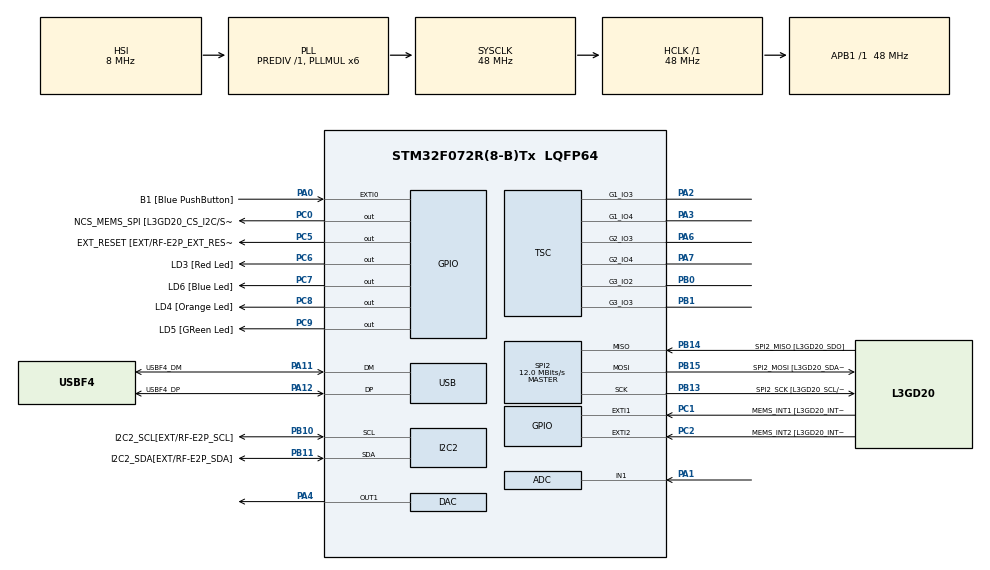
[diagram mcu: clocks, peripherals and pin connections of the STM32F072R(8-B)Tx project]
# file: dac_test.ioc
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ADC.ContinuousConvMode=ENABLE
ADC.SamplingTime=ADC_SAMPLETIME_28CYCLES_5
I2C2.Timing=0x20303E5D
Mcu.Family=STM32F0
Mcu.Name=STM32F072R(8-B)Tx
Mcu.Package=LQFP64
NVIC.ADC1_COMP_IRQn=true\:0\:0\:false\:false\:true\:true\:true
NVIC.USB_IRQn=true\:0\:0\:false\:false\:true\:false\:true
PA0.GPIO_Label=B1 [Blue PushButton]
PA0.GPIO_ModeDefaultEXTI=GPIO_MODE_EVT_RISING
PA0.Signal=GPXTI0
PA1.Mode=IN1
PA1.Signal=ADC_IN1
PA11.GPIO_Label=USBF4_DM
PA11.Mode=Device
PA11.Signal=USB_DM
PA12.GPIO_Label=USBF4_DP
PA12.Mode=Device
PA12.Signal=USB_DP
PA13.GPIO_Label=SWDIO
PA13.Mode=Serial_Wire
PA13.Signal=SYS_SWDIO
PA14.GPIO_Label=SWCLK
PA14.Mode=Serial_Wire
PA14.Signal=SYS_SWCLK
PA2.Mode=G1_IO3-Channel
PA2.Signal=TSC_G1_IO3
PA3.Mode=G1_IO4-Sampling
PA3.Signal=TSC_G1_IO4
PA4.Signal=COMP_DAC1_group
PA6.Mode=G2_IO3-Channel
PA6.Signal=TSC_G2_IO3
PA7.Mode=G2_IO4-Sampling
PA7.Signal=TSC_G2_IO4
PB0.Mode=G3_IO2-Channel
PB0.Signal=TSC_G3_IO2
PB1.Mode=G3_IO3-Sampling
PB1.Signal=TSC_G3_IO3
PB10.GPIO_Label=I2C2_SCL[EXT/RF-E2P_SCL]
PB10.Mode=I2C
PB10.Signal=I2C2_SCL
PB11.GPIO_Label=I2C2_SDA[EXT/RF-E2P_SDA]
PB11.Mode=I2C
PB11.Signal=I2C2_SDA
PB13.GPIO_Label=SPI2_SCK [L3GD20_SCL/SPC]
PB13.Mode=Full_Duplex_Master
PB13.Signal=SPI2_SCK
PB14.GPIO_Label=SPI2_MISO [L3GD20_SDO]
PB14.Mode=Full_Duplex_Master
PB14.Signal=SPI2_MISO
PB15.GPIO_Label=SPI2_MOSI [L3GD20_SDA/SDI]
PB15.Mode=Full_Duplex_Master
PB15.Signal=SPI2_MOSI
PC0.GPIO_Label=NCS_MEMS_SPI [L3GD20_CS_I2C/SPI]
PC0.Signal=GPIO_Output
PC1.GPIO_Label=MEMS_INT1 [L3GD20_INT1]
PC1.GPIO_ModeDefaultEXTI=GPIO_MODE_EVT_RISING
PC1.Signal=GPXTI1
PC2.GPIO_Label=MEMS_INT2 [L3GD20_INT2]
PC2.GPIO_ModeDefaultEXTI=GPIO_MODE_EVT_RISING
PC2.Signal=GPXTI2
PC5.GPIO_Label=EXT_RESET [EXT/RF-E2P_EXT_RESET]
PC5.Signal=GPIO_Output
PC6.GPIO_Label=LD3 [Red Led]
PC6.Signal=GPIO_Output
PC7.GPIO_Label=LD6 [Blue Led]
PC7.Signal=GPIO_Output
PC8.GPIO_Label=LD4 [Orange Led]
PC8.Signal=GPIO_Output
PC9.GPIO_Label=LD5 [GReen Led]
PC9.Signal=GPIO_Output
ProjectManager.HeapSize=0x200
ProjectManager.StackSize=0x400
ProjectManager.TargetToolchain=Makefile
RCC.AHBFreq_Value=48000000
RCC.APB1Freq_Value=48000000
RCC.APB1TimFreq_Value=48000000
RCC.HCLKFreq_Value=48000000
RCC.PLLMUL=RCC_PLL_MUL6
RCC.SYSCLKFreq_VALUE=48000000
RCC.SYSCLKSource=RCC_SYSCLKSOURCE_PLLCLK
SH.COMP_DAC1_group.0=DAC_OUT1,DAC_OUT1
SPI2.BaudRatePrescaler=SPI_BAUDRATEPRESCALER_4
SPI2.CalculateBaudRate=12.0 MBits/s
SPI2.Direction=SPI_DIRECTION_2LINES
SPI2.Mode=SPI_MODE_MASTER
SPI2.VirtualType=VM_MASTER
USB.phy_itface=PCD_PHY_EMBEDDED
USB.speed=PCD_SPEED_FULL
USB_DEVICE.CLASS_NAME_FS=CDC
USB_DEVICE.VirtualMode=Cdc
USB_DEVICE.VirtualModeFS=Cdc_FS
VP_USB_DEVICE_VS_USB_DEVICE_CDC_FS.Mode=CDC_FS
board=STM32F072B-DISCO

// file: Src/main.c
/* USER CODE BEGIN Header */
/**
  ******************************************************************************
  * @file           : main.c
  * @brief          : Main program body
  ******************************************************************************
  * @attention
  *
  * <h2><center>&copy; Copyright (c) 2020 STMicroelectronics.
  * All rights reserved.</center></h2>
  *
  * This software component is licensed by ST under BSD 3-Clause license,
  * the "License"; You may not use this file except in compliance with the
  * License. You may obtain a copy of the License at:
  *                        opensource.org/licenses/BSD-3-Clause
  *
  ******************************************************************************
  */
/* USER CODE END Header */

#include "main.h"
#include "usb_device.h"

/* USER CODE BEGIN Includes */
#include "usbd_cdc_if.h"
#include <string.h>
/* USER CODE END Includes */

ADC_HandleTypeDef hadc;

DAC_HandleTypeDef hdac;

I2C_HandleTypeDef hi2c2;

SPI_HandleTypeDef hspi2;

TSC_HandleTypeDef htsc;

void SystemClock_Config(void);
static void MX_GPIO_Init(void);
static void MX_DAC_Init(void);
static void MX_I2C2_Init(void);
static void MX_SPI2_Init(void);
static void MX_TSC_Init(void);
static void MX_ADC_Init(void);

/* USER CODE BEGIN 0 */
uint32_t adc_value = 0;
uint32_t DAC_Value = 1000;
uint16_t current_adc_value = 0;
/* USER CODE END 0 */

int main(void)
{

  /* MCU Configuration--------------------------------------------------------*/

  /* Reset of all peripherals, Initializes the Flash interface and the Systick. */
  HAL_Init();

  /* Configure the system clock */
  SystemClock_Config();

  /* Initialize all configured peripherals */
  MX_GPIO_Init();
  MX_DAC_Init();
  MX_I2C2_Init();
  MX_SPI2_Init();
  MX_TSC_Init();
  MX_ADC_Init();
  MX_USB_DEVICE_Init();
  /* USER CODE BEGIN 2 */
  HAL_DAC_Start(&hdac, DAC_CHANNEL_1);
  HAL_ADC_Start_IT (&hadc);

  uint8_t adc_index = 0;
  uint32_t adc_sum = 0;
  uint32_t adc_hist[100] = {0};

  uint8_t usb_buf[1] = {0};
  uint16_t txcounter = 0;

  /* USER CODE END 2 */

  /* Infinite loop */
  while (1)
  {

    /* USER CODE BEGIN 3 */

    adc_hist[adc_index]=current_adc_value;
    adc_index++;
    if (adc_index == 100){
      adc_index =0;
    }
    adc_sum = 0;
    for (int i = 0; i<100; i++){
      adc_sum += adc_hist[i];
    }
    adc_value = adc_sum * 30 / 4096 / 100;
    usb_buf[0] = adc_value;

    if (usb_ready()){
      DAC_Value = usb_getValue() * 100;
      HAL_DAC_SetValue(&hdac, DAC_CHANNEL_1,DAC_ALIGN_12B_R, DAC_Value*4096/3000);
    }
    txcounter++;
    if (txcounter==0){
      CDC_Transmit_FS(usb_buf,  1);
      HAL_Delay(100);
    }

    if (HAL_GPIO_ReadPin(B1_GPIO_Port, B1_Pin)){
      HAL_GPIO_TogglePin(LD6_GPIO_Port,LD6_Pin);
      HAL_Delay(200);
    }

  }
  /* USER CODE END 3 */
}

void SystemClock_Config(void)
{
  RCC_OscInitTypeDef RCC_OscInitStruct = {0};
  RCC_ClkInitTypeDef RCC_ClkInitStruct = {0};
  RCC_PeriphCLKInitTypeDef PeriphClkInit = {0};

  /** Initializes the CPU, AHB and APB busses clocks
  */
  RCC_OscInitStruct.OscillatorType = RCC_OSCILLATORTYPE_HSI|RCC_OSCILLATORTYPE_HSI14
                              |RCC_OSCILLATORTYPE_HSI48;
  RCC_OscInitStruct.HSIState = RCC_HSI_ON;
  RCC_OscInitStruct.HSI48State = RCC_HSI48_ON;
  RCC_OscInitStruct.HSI14State = RCC_HSI14_ON;
  RCC_OscInitStruct.HSICalibrationValue = RCC_HSICALIBRATION_DEFAULT;
  RCC_OscInitStruct.HSI14CalibrationValue = 16;
  RCC_OscInitStruct.PLL.PLLState = RCC_PLL_ON;
  RCC_OscInitStruct.PLL.PLLSource = RCC_PLLSOURCE_HSI;
  RCC_OscInitStruct.PLL.PLLMUL = RCC_PLL_MUL6;
  RCC_OscInitStruct.PLL.PREDIV = RCC_PREDIV_DIV1;
  if (HAL_RCC_OscConfig(&RCC_OscInitStruct) != HAL_OK)
  {
    Error_Handler();
  }
  /** Initializes the CPU, AHB and APB busses clocks
  */
  RCC_ClkInitStruct.ClockType = RCC_CLOCKTYPE_HCLK|RCC_CLOCKTYPE_SYSCLK
                              |RCC_CLOCKTYPE_PCLK1;
  RCC_ClkInitStruct.SYSCLKSource = RCC_SYSCLKSOURCE_PLLCLK;
  RCC_ClkInitStruct.AHBCLKDivider = RCC_SYSCLK_DIV1;
  RCC_ClkInitStruct.APB1CLKDivider = RCC_HCLK_DIV1;

  if (HAL_RCC_ClockConfig(&RCC_ClkInitStruct, FLASH_LATENCY_1) != HAL_OK)
  {
    Error_Handler();
  }
  PeriphClkInit.PeriphClockSelection = RCC_PERIPHCLK_USB;
  PeriphClkInit.UsbClockSelection = RCC_USBCLKSOURCE_HSI48;

  if (HAL_RCCEx_PeriphCLKConfig(&PeriphClkInit) != HAL_OK)
  {
    Error_Handler();
  }
}

static void MX_ADC_Init(void)
{

  ADC_ChannelConfTypeDef sConfig = {0};

  /** Configure the global features of the ADC (Clock, Resolution, Data Alignment and number of conversion)
  */
  hadc.Instance = ADC1;
  hadc.Init.ClockPrescaler = ADC_CLOCK_ASYNC_DIV1;
  hadc.Init.Resolution = ADC_RESOLUTION_12B;
  hadc.Init.DataAlign = ADC_DATAALIGN_RIGHT;
  hadc.Init.ScanConvMode = ADC_SCAN_DIRECTION_FORWARD;
  hadc.Init.EOCSelection = ADC_EOC_SINGLE_CONV;
  hadc.Init.LowPowerAutoWait = DISABLE;
  hadc.Init.LowPowerAutoPowerOff = DISABLE;
  hadc.Init.ContinuousConvMode = ENABLE;
  hadc.Init.DiscontinuousConvMode = DISABLE;
  hadc.Init.ExternalTrigConv = ADC_SOFTWARE_START;
  hadc.Init.ExternalTrigConvEdge = ADC_EXTERNALTRIGCONVEDGE_NONE;
  hadc.Init.DMAContinuousRequests = DISABLE;
  hadc.Init.Overrun = ADC_OVR_DATA_PRESERVED;
  if (HAL_ADC_Init(&hadc) != HAL_OK)
  {
    Error_Handler();
  }
  /** Configure for the selected ADC regular channel to be converted.
  */
  sConfig.Channel = ADC_CHANNEL_1;
  sConfig.Rank = ADC_RANK_CHANNEL_NUMBER;
  sConfig.SamplingTime = ADC_SAMPLETIME_28CYCLES_5;
  if (HAL_ADC_ConfigChannel(&hadc, &sConfig) != HAL_OK)
  {
    Error_Handler();
  }

}

static void MX_DAC_Init(void)
{

  DAC_ChannelConfTypeDef sConfig = {0};

  /** DAC Initialization
  */
  hdac.Instance = DAC;
  if (HAL_DAC_Init(&hdac) != HAL_OK)
  {
    Error_Handler();
  }
  /** DAC channel OUT1 config
  */
  sConfig.DAC_Trigger = DAC_TRIGGER_NONE;
  sConfig.DAC_OutputBuffer = DAC_OUTPUTBUFFER_ENABLE;
  if (HAL_DAC_ConfigChannel(&hdac, &sConfig, DAC_CHANNEL_1) != HAL_OK)
  {
    Error_Handler();
  }

}

static void MX_I2C2_Init(void)
{

  hi2c2.Instance = I2C2;
  hi2c2.Init.Timing = 0x20303E5D;
  hi2c2.Init.OwnAddress1 = 0;
  hi2c2.Init.AddressingMode = I2C_ADDRESSINGMODE_7BIT;
  hi2c2.Init.DualAddressMode = I2C_DUALADDRESS_DISABLE;
  hi2c2.Init.OwnAddress2 = 0;
  hi2c2.Init.OwnAddress2Masks = I2C_OA2_NOMASK;
  hi2c2.Init.GeneralCallMode = I2C_GENERALCALL_DISABLE;
  hi2c2.Init.NoStretchMode = I2C_NOSTRETCH_DISABLE;
  if (HAL_I2C_Init(&hi2c2) != HAL_OK)
  {
    Error_Handler();
  }
  /** Configure Analogue filter
  */
  if (HAL_I2CEx_ConfigAnalogFilter(&hi2c2, I2C_ANALOGFILTER_ENABLE) != HAL_OK)
  {
    Error_Handler();
  }
  /** Configure Digital filter
  */
  if (HAL_I2CEx_ConfigDigitalFilter(&hi2c2, 0) != HAL_OK)
  {
    Error_Handler();
  }

}

static void MX_SPI2_Init(void)
{

  /* SPI2 parameter configuration*/
  hspi2.Instance = SPI2;
  hspi2.Init.Mode = SPI_MODE_MASTER;
  hspi2.Init.Direction = SPI_DIRECTION_2LINES;
  hspi2.Init.DataSize = SPI_DATASIZE_4BIT;
  hspi2.Init.CLKPolarity = SPI_POLARITY_LOW;
  hspi2.Init.CLKPhase = SPI_PHASE_1EDGE;
  hspi2.Init.NSS = SPI_NSS_SOFT;
  hspi2.Init.BaudRatePrescaler = SPI_BAUDRATEPRESCALER_4;
  hspi2.Init.FirstBit = SPI_FIRSTBIT_MSB;
  hspi2.Init.TIMode = SPI_TIMODE_DISABLE;
  hspi2.Init.CRCCalculation = SPI_CRCCALCULATION_DISABLE;
  hspi2.Init.CRCPolynomial = 7;
  hspi2.Init.CRCLength = SPI_CRC_LENGTH_DATASIZE;
  hspi2.Init.NSSPMode = SPI_NSS_PULSE_ENABLE;
  if (HAL_SPI_Init(&hspi2) != HAL_OK)
  {
    Error_Handler();
  }

}

static void MX_TSC_Init(void)
{

  /** Configure the TSC peripheral
  */
  htsc.Instance = TSC;
  htsc.Init.CTPulseHighLength = TSC_CTPH_2CYCLES;
  htsc.Init.CTPulseLowLength = TSC_CTPL_2CYCLES;
  htsc.Init.SpreadSpectrum = DISABLE;
  htsc.Init.SpreadSpectrumDeviation = 1;
  htsc.Init.SpreadSpectrumPrescaler = TSC_SS_PRESC_DIV1;
  htsc.Init.PulseGeneratorPrescaler = TSC_PG_PRESC_DIV4;
  htsc.Init.MaxCountValue = TSC_MCV_8191;
  htsc.Init.IODefaultMode = TSC_IODEF_OUT_PP_LOW;
  htsc.Init.SynchroPinPolarity = TSC_SYNC_POLARITY_FALLING;
  htsc.Init.AcquisitionMode = TSC_ACQ_MODE_NORMAL;
  htsc.Init.MaxCountInterrupt = DISABLE;
  htsc.Init.ChannelIOs = TSC_GROUP1_IO3|TSC_GROUP2_IO3|TSC_GROUP3_IO2;
  htsc.Init.ShieldIOs = 0;
  htsc.Init.SamplingIOs = TSC_GROUP1_IO4|TSC_GROUP2_IO4|TSC_GROUP3_IO3;
  if (HAL_TSC_Init(&htsc) != HAL_OK)
  {
    Error_Handler();
  }

}

static void MX_GPIO_Init(void)
{
  GPIO_InitTypeDef GPIO_InitStruct = {0};

  /* GPIO Ports Clock Enable */
  __HAL_RCC_GPIOC_CLK_ENABLE();
  __HAL_RCC_GPIOA_CLK_ENABLE();
  __HAL_RCC_GPIOB_CLK_ENABLE();

  /*Configure GPIO pin Output Level */
  HAL_GPIO_WritePin(GPIOC, NCS_MEMS_SPI_Pin|EXT_RESET_Pin|LD3_Pin|LD6_Pin
                          |LD4_Pin|LD5_Pin, GPIO_PIN_RESET);

  /*Configure GPIO pins : NCS_MEMS_SPI_Pin EXT_RESET_Pin LD3_Pin LD6_Pin
                           LD4_Pin LD5_Pin */
  GPIO_InitStruct.Pin = NCS_MEMS_SPI_Pin|EXT_RESET_Pin|LD3_Pin|LD6_Pin
                          |LD4_Pin|LD5_Pin;
  GPIO_InitStruct.Mode = GPIO_MODE_OUTPUT_PP;
  GPIO_InitStruct.Pull = GPIO_NOPULL;
  GPIO_InitStruct.Speed = GPIO_SPEED_FREQ_LOW;
  HAL_GPIO_Init(GPIOC, &GPIO_InitStruct);

  /*Configure GPIO pins : MEMS_INT1_Pin MEMS_INT2_Pin */
  GPIO_InitStruct.Pin = MEMS_INT1_Pin|MEMS_INT2_Pin;
  GPIO_InitStruct.Mode = GPIO_MODE_EVT_RISING;
  GPIO_InitStruct.Pull = GPIO_NOPULL;
  HAL_GPIO_Init(GPIOC, &GPIO_InitStruct);

  /*Configure GPIO pin : B1_Pin */
  GPIO_InitStruct.Pin = B1_Pin;
  GPIO_InitStruct.Mode = GPIO_MODE_EVT_RISING;
  GPIO_InitStruct.Pull = GPIO_NOPULL;
  HAL_GPIO_Init(B1_GPIO_Port, &GPIO_InitStruct);

}

/* USER CODE BEGIN 4 */
void HAL_ADC_ConvCpltCallback(ADC_HandleTypeDef* hadc){
    current_adc_value = HAL_ADC_GetValue(hadc);
}
/* USER CODE END 4 */

void Error_Handler(void)
{
}

/************************ (C) COPYRIGHT STMicroelectronics *****END OF FILE****/
